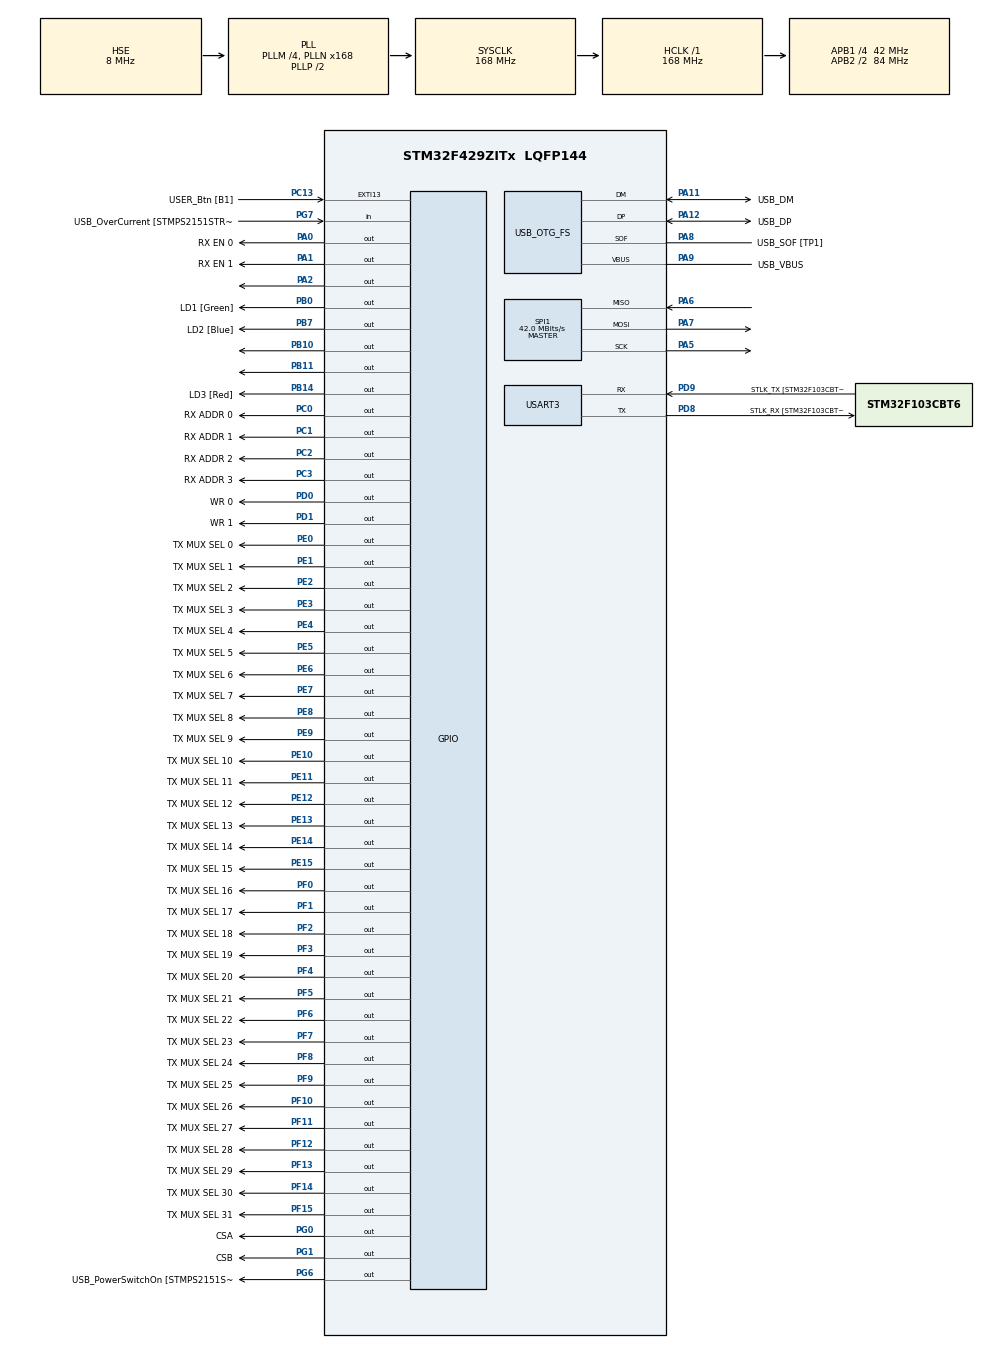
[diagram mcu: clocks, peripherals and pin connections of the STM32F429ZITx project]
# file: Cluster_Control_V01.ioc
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Mcu.Family=STM32F4
Mcu.Name=STM32F429ZITx
Mcu.Package=LQFP144
NVIC.PriorityGroup=NVIC_PRIORITYGROUP_4
NVIC.USART3_IRQn=true\:0\:0\:false\:false\:true\:true\:true\:true
PA0/WKUP.GPIO_Label=RX EN 0
PA0/WKUP.Signal=GPIO_Output
PA1.GPIO_Label=RX EN 1
PA1.Signal=GPIO_Output
PA10.GPIO_Label=USB_ID
PA10.Signal=USB_OTG_FS_ID
PA11.GPIO_Label=USB_DM
PA11.Mode=Device_Only
PA11.Signal=USB_OTG_FS_DM
PA12.GPIO_Label=USB_DP
PA12.Mode=Device_Only
PA12.Signal=USB_OTG_FS_DP
PA13.GPIO_Label=TMS
PA13.Mode=Serial_Wire
PA13.Signal=SYS_JTMS-SWDIO
PA14.GPIO_Label=TCK
PA14.Mode=Serial_Wire
PA14.Signal=SYS_JTCK-SWCLK
PA2.Signal=GPIO_Output
PA5.Mode=Full_Duplex_Master
PA5.Signal=SPI1_SCK
PA6.Mode=Full_Duplex_Master
PA6.Signal=SPI1_MISO
PA7.Mode=Full_Duplex_Master
PA7.Signal=SPI1_MOSI
PA8.GPIO_Label=USB_SOF [TP1]
PA8.Mode=Activate_SOF_FS
PA8.Signal=USB_OTG_FS_SOF
PA9.GPIO_Label=USB_VBUS
PA9.Mode=Activate_VBUS
PA9.Signal=USB_OTG_FS_VBUS
PB0.GPIO_Label=LD1 [Green]
PB0.Signal=GPIO_Output
PB10.Signal=GPIO_Output
PB11.Signal=GPIO_Output
PB14.GPIO_Label=LD3 [Red]
PB14.Signal=GPIO_Output
PB7.GPIO_Label=LD2 [Blue]
PB7.Signal=GPIO_Output
PC0.GPIO_Label=RX ADDR 0
PC0.Signal=GPIO_Output
PC1.GPIO_Label=RX ADDR 1
PC1.Signal=GPIO_Output
PC13.GPIO_Label=USER_Btn [B1]
PC13.Signal=GPXTI13
PC14/OSC32_IN.Mode=LSE-External-Oscillator
PC14/OSC32_IN.Signal=RCC_OSC32_IN
PC15/OSC32_OUT.Mode=LSE-External-Oscillator
PC15/OSC32_OUT.Signal=RCC_OSC32_OUT
PC2.GPIO_Label=RX ADDR 2
PC2.Signal=GPIO_Output
PC3.GPIO_Label=RX ADDR 3
PC3.Signal=GPIO_Output
PD0.GPIO_Label=WR 0
PD0.Signal=GPIO_Output
PD1.GPIO_Label=WR 1
PD1.Signal=GPIO_Output
PD8.GPIO_Label=STLK_RX [STM32F103CBT6_PA3]
PD8.Mode=Asynchronous
PD8.Signal=USART3_TX
PD9.GPIO_Label=STLK_TX [STM32F103CBT6_PA2]
PD9.Mode=Asynchronous
PD9.Signal=USART3_RX
PE0.GPIO_Label=TX MUX SEL 0
PE0.Signal=GPIO_Output
PE1.GPIO_Label=TX MUX SEL 1
PE1.Signal=GPIO_Output
PE10.GPIO_Label=TX MUX SEL 10
PE10.Signal=GPIO_Output
PE11.GPIO_Label=TX MUX SEL 11
PE11.Signal=GPIO_Output
PE12.GPIO_Label=TX MUX SEL 12
PE12.Signal=GPIO_Output
PE13.GPIO_Label=TX MUX SEL 13
PE13.Signal=GPIO_Output
PE14.GPIO_Label=TX MUX SEL 14
PE14.Signal=GPIO_Output
PE15.GPIO_Label=TX MUX SEL 15
PE15.Signal=GPIO_Output
PE2.GPIO_Label=TX MUX SEL 2
PE2.Signal=GPIO_Output
PE3.GPIO_Label=TX MUX SEL 3
PE3.Signal=GPIO_Output
PE4.GPIO_Label=TX MUX SEL 4
PE4.Signal=GPIO_Output
PE5.GPIO_Label=TX MUX SEL 5
PE5.Signal=GPIO_Output
PE6.GPIO_Label=TX MUX SEL 6
PE6.Signal=GPIO_Output
PE7.GPIO_Label=TX MUX SEL 7
PE7.Signal=GPIO_Output
PE8.GPIO_Label=TX MUX SEL 8
PE8.Signal=GPIO_Output
PE9.GPIO_Label=TX MUX SEL 9
PE9.Signal=GPIO_Output
PF0.GPIO_Label=TX MUX SEL 16
PF0.Signal=GPIO_Output
PF1.GPIO_Label=TX MUX SEL 17
PF1.Signal=GPIO_Output
PF10.GPIO_Label=TX MUX SEL 26
PF10.Signal=GPIO_Output
PF11.GPIO_Label=TX MUX SEL 27
PF11.Signal=GPIO_Output
PF12.GPIO_Label=TX MUX SEL 28
PF12.Signal=GPIO_Output
PF13.GPIO_Label=TX MUX SEL 29
PF13.Signal=GPIO_Output
PF14.GPIO_Label=TX MUX SEL 30
PF14.Signal=GPIO_Output
PF15.GPIO_Label=TX MUX SEL 31
PF15.Signal=GPIO_Output
PF2.GPIO_Label=TX MUX SEL 18
PF2.Signal=GPIO_Output
PF3.GPIO_Label=TX MUX SEL 19
PF3.Signal=GPIO_Output
PF4.GPIO_Label=TX MUX SEL 20
PF4.Signal=GPIO_Output
PF5.GPIO_Label=TX MUX SEL 21
PF5.Signal=GPIO_Output
PF6.GPIO_Label=TX MUX SEL 22
PF6.Signal=GPIO_Output
PF7.GPIO_Label=TX MUX SEL 23
PF7.Signal=GPIO_Output
PF8.GPIO_Label=TX MUX SEL 24
PF8.Signal=GPIO_Output
PF9.GPIO_Label=TX MUX SEL 25
PF9.Signal=GPIO_Output
PG0.GPIO_Label=CSA
PG0.Signal=GPIO_Output
PG1.GPIO_Label=CSB
PG1.Signal=GPIO_Output
PG6.GPIO_Label=USB_PowerSwitchOn [STMPS2151STR_EN]
PG6.Signal=GPIO_Output
PG7.GPIO_Label=USB_OverCurrent [STMPS2151STR_FAULT]
PG7.Signal=GPIO_Input
PH0/OSC_IN.GPIO_Label=MCO [STM32F103CBT6_PA8]
PH0/OSC_IN.Mode=HSE-External-Clock-Source
PH0/OSC_IN.Signal=RCC_OSC_IN
PH1/OSC_OUT.Mode=HSE-External-Clock-Source
PH1/OSC_OUT.Signal=RCC_OSC_OUT
ProjectManager.HeapSize=0x200
ProjectManager.StackSize=0x400
ProjectManager.TargetToolchain=STM32CubeIDE
RCC.48MHZClocksFreq_Value=48000000
RCC.AHBFreq_Value=168000000
RCC.APB1CLKDivider=RCC_HCLK_DIV4
RCC.APB1Freq_Value=42000000
RCC.APB1TimFreq_Value=84000000
RCC.APB2CLKDivider=RCC_HCLK_DIV2
RCC.APB2Freq_Value=84000000
RCC.APB2TimCLKDivider=2
RCC.APB2TimFreq_Value=168000000
RCC.CortexFreq_Value=168000000
RCC.HCLKFreq_Value=168000000
RCC.HSE_VALUE=8000000
RCC.HSI_VALUE=16000000
RCC.PLLM=4
RCC.PLLMUL=RCC_PLL_MUL9
RCC.PLLN=168
RCC.PLLQ=7
RCC.PRESCALERUSB=RCC_USBCLKSOURCE_PLL_DIV1_5
RCC.SYSCLKFreq_VALUE=168000000
RCC.SYSCLKSource=RCC_SYSCLKSOURCE_PLLCLK
RCC.SYSCLKSourceVirtual=RCC_SYSCLKSOURCE_PLLCLK
RCC.USBFreq_Value=48000000
RCC.VCOOutputFreq_Value=336000000
SPI1.CalculateBaudRate=42.0 MBits/s
SPI1.Direction=SPI_DIRECTION_2LINES
SPI1.Mode=SPI_MODE_MASTER
SPI1.VirtualType=VM_MASTER
USART3.VirtualMode=VM_ASYNC
USB_OTG_FS.VirtualMode=Device_Only
board=NUCLEO-F429ZI

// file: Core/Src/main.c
/* USER CODE BEGIN Header */
/**
 ******************************************************************************
 * @file           : main.c
 * @brief          : Main program body
 ******************************************************************************
 * @attention
 *
 * Copyright (c) 2022 STMicroelectronics.
 * All rights reserved.
 *
 * This software is licensed under terms that can be found in the LICENSE file
 * in the root directory of this software component.
 * If no LICENSE file comes with this software, it is provided AS-IS.
 * 흐음
 *
 ******************************************************************************
 */
/* USER CODE END Header */
#include "main.h"
#include "math.h"

SPI_HandleTypeDef hspi1;

UART_HandleTypeDef huart3;

PCD_HandleTypeDef hpcd_USB_OTG_FS;

/* USER CODE BEGIN PV */
#define data_length 100
#define Total_Data_Length 9
#define Data_Terminating_Letter 8
#define Data_TX_MUX_SEL_1 3
#define Data_TX_MUX_SEL_2 4
#define Data_RX_MUX_ADDR 6
#define Data_RX_MUX_SEL 7

char UART_RX_data[data_length];
char UART_RX_data_word[8];
char UART_RX_temp[8];
char UART_TX_data = 0;
char uart_flag = 0;
char data_flag = 0;
char uart_cnt = 0;
int cnt = 0;
char received = '\0';
char start_char_flag = 0;
char TX_SEL = 0;
char TX_SEL1 = 0;
char TX_SEL2 = 0;
char RX_ADDR = 0;
char RX_SEL = 0;

HAL_StatusTypeDef rcvStat;
/* USER CODE END PV */

void SystemClock_Config(void);
static void MX_GPIO_Init(void);
static void MX_USART3_UART_Init(void);
static void MX_USB_OTG_FS_PCD_Init(void);
static void MX_SPI1_Init(void);

/* USER CODE BEGIN 0 */
int __io_putchar(int ch)
{
  HAL_UART_Transmit(&huart3, (uint8_t *)&ch, 1, 0xFFFF);
  return ch;
}

/* USER CODE END 0 */

int main(void)
{

  /* MCU Configuration--------------------------------------------------------*/

  /* Reset of all peripherals, Initializes the Flash interface and the Systick. */
  HAL_Init();

  /* Configure the system clock */
  SystemClock_Config();

  /* Initialize all configured peripherals */
  MX_GPIO_Init();
  MX_USART3_UART_Init();
  MX_USB_OTG_FS_PCD_Init();
  MX_SPI1_Init();
  /* USER CODE BEGIN 2 */
  // HAL_UART_Receive_IT(&huart3, &UART_RX_data, 1);

  printf("\r\n----------------------------------------------------------------- \r\n");
  printf("Version 2022, 10, 06 Cluster Control Board Ver 0.0.3 \r\n");
  printf("0.0.1 Labview Communication Test Checked Labview RX\r\n");
  printf("0.0.2 Labview Communication Test Checked Labview TX\r\n");
  printf("0.0.3 Labview Communication Test Checked Data Parsing Test \r\n");
  printf("0.0.4 Git Test  \r\n");
  printf("0.0.5 Labview Communication Test Labview Parsing Test \r\n");
  printf("0.0.6 Labview Communication Test ARM Parsing Test \r\n");
  printf("0.0.7 ARM Protocol Ver 0.1 \r\n");
  printf("0.0.8 Command Added \r\n");
  printf("0.0.9 Function Added \r\n");
  /*GPIO Reset Fuction 추가*/
  printf("0.1.0 Protocal Ver 0.1 \r\n");
  printf("0.1.1 Setting Cluster ID \r\n");
  printf("0.1.2 Setting Chip EN, CS and WR Setting \r\n");
  printf("1.0.0 TX datalenth = 2, so Total data length is 9  \r\n");
  printf("1.0.1 Ratency improve \r\n");
  printf("----- ------------------------------------------------------------ \r\n");
  // HAL_GPIO_WritePin(GPIOE, 0x02, GPIO_PIN_RESET);
  // HAL_GPIO_WritePin(GPIOE, 0x01, GPIO_PIN_RESET);
  HAL_GPIO_WritePin(GPIOG, CSA_Pin | CSB_Pin, GPIO_PIN_SET);
  HAL_GPIO_WritePin(GPIOD, WR_0_Pin | WR_1_Pin, GPIO_PIN_SET);
  //Test d
  /* USER CODE END 2 */

  /* Infinite loop */
  /* USER CODE BEGIN WHILE */
  int che = 0;
  int tx_flag = 0;
  char old_sel = 0;
  while (1)
  {

    // UART 신호 수신
    for (int i = 0; i < data_length; i++)
    {
      UART_RX_data[i] = NULL;
    }
    rcvStat = HAL_UART_Receive(&huart3, UART_RX_data, 1, 100);
    TX_SEL = UART_RX_data[0]- 33;
    if (old_sel == TX_SEL)
    {
    }
    else
    {
      if (TX_SEL > 40)
      {
        printf("error : TX_SEL Out Of Range \r\n");
        // HAL_GPIO_WritePin(GPIOE, 0xFF, GPIO_PIN_RESET);
      }
      else if (TX_SEL >= 32) // W 입력 받았을 경우
      {
        HAL_GPIO_WritePin(GPIOE, 0xFF, GPIO_PIN_RESET);
      }
      else if ((TX_SEL >= 16) && (TX_SEL < 32))
      {

        HAL_GPIO_WritePin(GPIOF, 1 << (TX_SEL - 16), GPIO_PIN_SET);
      }
      else if ((TX_SEL > 0) && (TX_SEL < 16))
      {

        HAL_GPIO_WritePin(GPIOE, 0xFF, GPIO_PIN_RESET);
        HAL_GPIO_WritePin(GPIOE, 1 << TX_SEL, GPIO_PIN_SET);
      }
      else if (TX_SEL == 0)
      {
        // printf("%d^%d= %d \r\n", 2, 2, 1 << TX_SEL);
        HAL_GPIO_WritePin(GPIOE, 0xFF, GPIO_PIN_RESET);
        HAL_GPIO_WritePin(GPIOE, 0x01, GPIO_PIN_SET);
      }
    }
    old_sel = TX_SEL;
    // else
    // {
    //   HAL_GPIO_WritePin(GPIOE, 0x01, GPIO_PIN_SET);
    //   HAL_Delay(100);
    //   HAL_GPIO_WritePin(GPIOE, 0x01, GPIO_PIN_RESET);
    // }

    /* USER CODE END WHILE */

  }
}
void SystemClock_Config(void)
{
  RCC_OscInitTypeDef RCC_OscInitStruct = {0};
  RCC_ClkInitTypeDef RCC_ClkInitStruct = {0};

  /** Configure the main internal regulator output voltage
   */
  __HAL_RCC_PWR_CLK_ENABLE();
  __HAL_PWR_VOLTAGESCALING_CONFIG(PWR_REGULATOR_VOLTAGE_SCALE1);

  /** Initializes the RCC Oscillators according to the specified parameters
   * in the RCC_OscInitTypeDef structure.
   */
  RCC_OscInitStruct.OscillatorType = RCC_OSCILLATORTYPE_HSE;
  RCC_OscInitStruct.HSEState = RCC_HSE_BYPASS;
  RCC_OscInitStruct.PLL.PLLState = RCC_PLL_ON;
  RCC_OscInitStruct.PLL.PLLSource = RCC_PLLSOURCE_HSE;
  RCC_OscInitStruct.PLL.PLLM = 4;
  RCC_OscInitStruct.PLL.PLLN = 168;
  RCC_OscInitStruct.PLL.PLLP = RCC_PLLP_DIV2;
  RCC_OscInitStruct.PLL.PLLQ = 7;
  if (HAL_RCC_OscConfig(&RCC_OscInitStruct) != HAL_OK)
  {
    Error_Handler();
  }

  /** Initializes the CPU, AHB and APB buses clocks
   */
  RCC_ClkInitStruct.ClockType = RCC_CLOCKTYPE_HCLK | RCC_CLOCKTYPE_SYSCLK | RCC_CLOCKTYPE_PCLK1 | RCC_CLOCKTYPE_PCLK2;
  RCC_ClkInitStruct.SYSCLKSource = RCC_SYSCLKSOURCE_PLLCLK;
  RCC_ClkInitStruct.AHBCLKDivider = RCC_SYSCLK_DIV1;
  RCC_ClkInitStruct.APB1CLKDivider = RCC_HCLK_DIV4;
  RCC_ClkInitStruct.APB2CLKDivider = RCC_HCLK_DIV2;

  if (HAL_RCC_ClockConfig(&RCC_ClkInitStruct, FLASH_LATENCY_5) != HAL_OK)
  {
    Error_Handler();
  }
}

static void MX_SPI1_Init(void)
{

  /* SPI1 parameter configuration*/
  hspi1.Instance = SPI1;
  hspi1.Init.Mode = SPI_MODE_MASTER;
  hspi1.Init.Direction = SPI_DIRECTION_2LINES;
  hspi1.Init.DataSize = SPI_DATASIZE_8BIT;
  hspi1.Init.CLKPolarity = SPI_POLARITY_LOW;
  hspi1.Init.CLKPhase = SPI_PHASE_1EDGE;
  hspi1.Init.NSS = SPI_NSS_SOFT;
  hspi1.Init.BaudRatePrescaler = SPI_BAUDRATEPRESCALER_2;
  hspi1.Init.FirstBit = SPI_FIRSTBIT_MSB;
  hspi1.Init.TIMode = SPI_TIMODE_DISABLE;
  hspi1.Init.CRCCalculation = SPI_CRCCALCULATION_DISABLE;
  hspi1.Init.CRCPolynomial = 10;
  if (HAL_SPI_Init(&hspi1) != HAL_OK)
  {
    Error_Handler();
  }
}

static void MX_USART3_UART_Init(void)
{

  huart3.Instance = USART3;
  huart3.Init.BaudRate = 115200;
  huart3.Init.WordLength = UART_WORDLENGTH_8B;
  huart3.Init.StopBits = UART_STOPBITS_1;
  huart3.Init.Parity = UART_PARITY_NONE;
  huart3.Init.Mode = UART_MODE_TX_RX;
  huart3.Init.HwFlowCtl = UART_HWCONTROL_NONE;
  huart3.Init.OverSampling = UART_OVERSAMPLING_16;
  if (HAL_UART_Init(&huart3) != HAL_OK)
  {
    Error_Handler();
  }
}

static void MX_USB_OTG_FS_PCD_Init(void)
{

  hpcd_USB_OTG_FS.Instance = USB_OTG_FS;
  hpcd_USB_OTG_FS.Init.dev_endpoints = 4;
  hpcd_USB_OTG_FS.Init.speed = PCD_SPEED_FULL;
  hpcd_USB_OTG_FS.Init.dma_enable = DISABLE;
  hpcd_USB_OTG_FS.Init.phy_itface = PCD_PHY_EMBEDDED;
  hpcd_USB_OTG_FS.Init.Sof_enable = ENABLE;
  hpcd_USB_OTG_FS.Init.low_power_enable = DISABLE;
  hpcd_USB_OTG_FS.Init.lpm_enable = DISABLE;
  hpcd_USB_OTG_FS.Init.vbus_sensing_enable = ENABLE;
  hpcd_USB_OTG_FS.Init.use_dedicated_ep1 = DISABLE;
  if (HAL_PCD_Init(&hpcd_USB_OTG_FS) != HAL_OK)
  {
    Error_Handler();
  }
}

static void MX_GPIO_Init(void)
{
  GPIO_InitTypeDef GPIO_InitStruct = {0};

  /* GPIO Ports Clock Enable */
  __HAL_RCC_GPIOE_CLK_ENABLE();
  __HAL_RCC_GPIOC_CLK_ENABLE();
  __HAL_RCC_GPIOF_CLK_ENABLE();
  __HAL_RCC_GPIOH_CLK_ENABLE();
  __HAL_RCC_GPIOA_CLK_ENABLE();
  __HAL_RCC_GPIOB_CLK_ENABLE();
  __HAL_RCC_GPIOG_CLK_ENABLE();
  __HAL_RCC_GPIOD_CLK_ENABLE();

  /*Configure GPIO pin Output Level */
  HAL_GPIO_WritePin(GPIOE, TX_MUX_SEL_2_Pin | TX_MUX_SEL_3_Pin | TX_MUX_SEL_4_Pin | TX_MUX_SEL_5_Pin | TX_MUX_SEL_6_Pin | TX_MUX_SEL_7_Pin | TX_MUX_SEL_8_Pin | TX_MUX_SEL_9_Pin | TX_MUX_SEL_10_Pin | TX_MUX_SEL_11_Pin | TX_MUX_SEL_12_Pin | TX_MUX_SEL_13_Pin | TX_MUX_SEL_14_Pin | TX_MUX_SEL_15_Pin | TX_MUX_SEL_0_Pin | TX_MUX_SEL_1_Pin, GPIO_PIN_RESET);

  /*Configure GPIO pin Output Level */
  HAL_GPIO_WritePin(GPIOF, TX_MUX_SEL_16_Pin | TX_MUX_SEL_17_Pin | TX_MUX_SEL_18_Pin | TX_MUX_SEL_19_Pin | TX_MUX_SEL_20_Pin | TX_MUX_SEL_21_Pin | TX_MUX_SEL_22_Pin | TX_MUX_SEL_23_Pin | TX_MUX_SEL_24_Pin | TX_MUX_SEL_25_Pin | TX_MUX_SEL_26_Pin | TX_MUX_SEL_27_Pin | TX_MUX_SEL_28_Pin | TX_MUX_SEL_29_Pin | TX_MUX_SEL_30_Pin | TX_MUX_SEL_31_Pin, GPIO_PIN_RESET);

  /*Configure GPIO pin Output Level */
  HAL_GPIO_WritePin(GPIOC, RX_ADDR_0_Pin | RX_ADDR_1_Pin | RX_ADDR_2_Pin | RX_ADDR_3_Pin, GPIO_PIN_RESET);

  /*Configure GPIO pin Output Level */
  HAL_GPIO_WritePin(GPIOA, RX_EN_0_Pin | RX_EN_1_Pin | GPIO_PIN_2, GPIO_PIN_RESET);

  /*Configure GPIO pin Output Level */
  HAL_GPIO_WritePin(GPIOB, LD1_Pin | GPIO_PIN_10 | GPIO_PIN_11 | LD3_Pin | LD2_Pin, GPIO_PIN_RESET);

  /*Configure GPIO pin Output Level */
  HAL_GPIO_WritePin(GPIOG, CSA_Pin | CSB_Pin | USB_PowerSwitchOn_Pin, GPIO_PIN_RESET);

  /*Configure GPIO pin Output Level */
  HAL_GPIO_WritePin(GPIOD, WR_0_Pin | WR_1_Pin, GPIO_PIN_RESET);

  /*Configure GPIO pins : TX_MUX_SEL_2_Pin TX_MUX_SEL_3_Pin TX_MUX_SEL_4_Pin TX_MUX_SEL_5_Pin
                           TX_MUX_SEL_6_Pin TX_MUX_SEL_7_Pin TX_MUX_SEL_8_Pin TX_MUX_SEL_9_Pin
                           TX_MUX_SEL_10_Pin TX_MUX_SEL_11_Pin TX_MUX_SEL_12_Pin TX_MUX_SEL_13_Pin
                           TX_MUX_SEL_14_Pin TX_MUX_SEL_15_Pin TX_MUX_SEL_0_Pin TX_MUX_SEL_1_Pin */
  GPIO_InitStruct.Pin = TX_MUX_SEL_2_Pin | TX_MUX_SEL_3_Pin | TX_MUX_SEL_4_Pin | TX_MUX_SEL_5_Pin | TX_MUX_SEL_6_Pin | TX_MUX_SEL_7_Pin | TX_MUX_SEL_8_Pin | TX_MUX_SEL_9_Pin | TX_MUX_SEL_10_Pin | TX_MUX_SEL_11_Pin | TX_MUX_SEL_12_Pin | TX_MUX_SEL_13_Pin | TX_MUX_SEL_14_Pin | TX_MUX_SEL_15_Pin | TX_MUX_SEL_0_Pin | TX_MUX_SEL_1_Pin;
  GPIO_InitStruct.Mode = GPIO_MODE_OUTPUT_PP;
  GPIO_InitStruct.Pull = GPIO_NOPULL;
  GPIO_InitStruct.Speed = GPIO_SPEED_FREQ_LOW;
  HAL_GPIO_Init(GPIOE, &GPIO_InitStruct);

  /*Configure GPIO pin : USER_Btn_Pin */
  GPIO_InitStruct.Pin = USER_Btn_Pin;
  GPIO_InitStruct.Mode = GPIO_MODE_IT_RISING;
  GPIO_InitStruct.Pull = GPIO_NOPULL;
  HAL_GPIO_Init(USER_Btn_GPIO_Port, &GPIO_InitStruct);

  /*Configure GPIO pins : TX_MUX_SEL_16_Pin TX_MUX_SEL_17_Pin TX_MUX_SEL_18_Pin TX_MUX_SEL_19_Pin
                           TX_MUX_SEL_20_Pin TX_MUX_SEL_21_Pin TX_MUX_SEL_22_Pin TX_MUX_SEL_23_Pin
                           TX_MUX_SEL_24_Pin TX_MUX_SEL_25_Pin TX_MUX_SEL_26_Pin TX_MUX_SEL_27_Pin
                           TX_MUX_SEL_28_Pin TX_MUX_SEL_29_Pin TX_MUX_SEL_30_Pin TX_MUX_SEL_31_Pin */
  GPIO_InitStruct.Pin = TX_MUX_SEL_16_Pin | TX_MUX_SEL_17_Pin | TX_MUX_SEL_18_Pin | TX_MUX_SEL_19_Pin | TX_MUX_SEL_20_Pin | TX_MUX_SEL_21_Pin | TX_MUX_SEL_22_Pin | TX_MUX_SEL_23_Pin | TX_MUX_SEL_24_Pin | TX_MUX_SEL_25_Pin | TX_MUX_SEL_26_Pin | TX_MUX_SEL_27_Pin | TX_MUX_SEL_28_Pin | TX_MUX_SEL_29_Pin | TX_MUX_SEL_30_Pin | TX_MUX_SEL_31_Pin;
  GPIO_InitStruct.Mode = GPIO_MODE_OUTPUT_PP;
  GPIO_InitStruct.Pull = GPIO_NOPULL;
  GPIO_InitStruct.Speed = GPIO_SPEED_FREQ_LOW;
  HAL_GPIO_Init(GPIOF, &GPIO_InitStruct);

  /*Configure GPIO pins : RX_ADDR_0_Pin RX_ADDR_1_Pin RX_ADDR_2_Pin RX_ADDR_3_Pin */
  GPIO_InitStruct.Pin = RX_ADDR_0_Pin | RX_ADDR_1_Pin | RX_ADDR_2_Pin | RX_ADDR_3_Pin;
  GPIO_InitStruct.Mode = GPIO_MODE_OUTPUT_PP;
  GPIO_InitStruct.Pull = GPIO_NOPULL;
  GPIO_InitStruct.Speed = GPIO_SPEED_FREQ_LOW;
  HAL_GPIO_Init(GPIOC, &GPIO_InitStruct);

  /*Configure GPIO pins : RX_EN_0_Pin RX_EN_1_Pin PA2 */
  GPIO_InitStruct.Pin = RX_EN_0_Pin | RX_EN_1_Pin | GPIO_PIN_2;
  GPIO_InitStruct.Mode = GPIO_MODE_OUTPUT_PP;
  GPIO_InitStruct.Pull = GPIO_NOPULL;
  GPIO_InitStruct.Speed = GPIO_SPEED_FREQ_LOW;
  HAL_GPIO_Init(GPIOA, &GPIO_InitStruct);

  /*Configure GPIO pins : LD1_Pin PB10 PB11 LD3_Pin
                           LD2_Pin */
  GPIO_InitStruct.Pin = LD1_Pin | GPIO_PIN_10 | GPIO_PIN_11 | LD3_Pin | LD2_Pin;
  GPIO_InitStruct.Mode = GPIO_MODE_OUTPUT_PP;
  GPIO_InitStruct.Pull = GPIO_NOPULL;
  GPIO_InitStruct.Speed = GPIO_SPEED_FREQ_LOW;
  HAL_GPIO_Init(GPIOB, &GPIO_InitStruct);

  /*Configure GPIO pins : CSA_Pin CSB_Pin USB_PowerSwitchOn_Pin */
  GPIO_InitStruct.Pin = CSA_Pin | CSB_Pin | USB_PowerSwitchOn_Pin;
  GPIO_InitStruct.Mode = GPIO_MODE_OUTPUT_PP;
  GPIO_InitStruct.Pull = GPIO_NOPULL;
  GPIO_InitStruct.Speed = GPIO_SPEED_FREQ_LOW;
  HAL_GPIO_Init(GPIOG, &GPIO_InitStruct);

  /*Configure GPIO pin : USB_OverCurrent_Pin */
  GPIO_InitStruct.Pin = USB_OverCurrent_Pin;
  GPIO_InitStruct.Mode = GPIO_MODE_INPUT;
  GPIO_InitStruct.Pull = GPIO_NOPULL;
  HAL_GPIO_Init(USB_OverCurrent_GPIO_Port, &GPIO_InitStruct);

  /*Configure GPIO pins : WR_0_Pin WR_1_Pin */
  GPIO_InitStruct.Pin = WR_0_Pin | WR_1_Pin;
  GPIO_InitStruct.Mode = GPIO_MODE_OUTPUT_PP;
  GPIO_InitStruct.Pull = GPIO_NOPULL;
  GPIO_InitStruct.Speed = GPIO_SPEED_FREQ_LOW;
  HAL_GPIO_Init(GPIOD, &GPIO_InitStruct);
}

/* USER CODE BEGIN 4 */
void HAL_UART_RxCpltCallback(UART_HandleTypeDef *huart)
{
  if (huart->Instance == USART3)
  {
    // ?��?��?�� 1개�?? ?��?��?���? ?��?��?��?���? 발생?��?��?��.
    // HAL_UART_Receive_IT(&huart3, &UART_RX_data, 1);
    // HAL_UART_Transmit(&huart3, &UART_RX_data, 1, 1000);
    // uart_flag = 1;
  }
}
void GPIO_Reset()
{
  HAL_GPIO_WritePin(GPIOE, TX_MUX_SEL_2_Pin | TX_MUX_SEL_3_Pin | TX_MUX_SEL_4_Pin | TX_MUX_SEL_5_Pin | TX_MUX_SEL_6_Pin | TX_MUX_SEL_7_Pin | TX_MUX_SEL_8_Pin | TX_MUX_SEL_9_Pin | TX_MUX_SEL_10_Pin | TX_MUX_SEL_11_Pin | TX_MUX_SEL_12_Pin | TX_MUX_SEL_13_Pin | TX_MUX_SEL_14_Pin | TX_MUX_SEL_15_Pin | TX_MUX_SEL_0_Pin | TX_MUX_SEL_1_Pin, GPIO_PIN_RESET);
  HAL_GPIO_WritePin(GPIOF, TX_MUX_SEL_16_Pin | TX_MUX_SEL_17_Pin | TX_MUX_SEL_18_Pin | TX_MUX_SEL_19_Pin | TX_MUX_SEL_20_Pin | TX_MUX_SEL_21_Pin | TX_MUX_SEL_22_Pin | TX_MUX_SEL_23_Pin | TX_MUX_SEL_24_Pin | TX_MUX_SEL_25_Pin | TX_MUX_SEL_26_Pin | TX_MUX_SEL_27_Pin | TX_MUX_SEL_28_Pin | TX_MUX_SEL_29_Pin | TX_MUX_SEL_30_Pin | TX_MUX_SEL_31_Pin, GPIO_PIN_RESET);
  HAL_GPIO_WritePin(GPIOC, RX_ADDR_0_Pin | RX_ADDR_1_Pin | RX_ADDR_2_Pin | RX_ADDR_3_Pin, GPIO_PIN_RESET);
  HAL_GPIO_WritePin(GPIOA, RX_EN_0_Pin | RX_EN_1_Pin, GPIO_PIN_RESET);
  HAL_GPIO_WritePin(GPIOG, CSA_Pin | CSB_Pin, GPIO_PIN_RESET);
  HAL_GPIO_WritePin(GPIOD, WR_0_Pin | WR_1_Pin, GPIO_PIN_RESET);
}

/* USER CODE END 4 */

void Error_Handler(void)
{
  __disable_irq();
  while (1)
  {
  }
}
